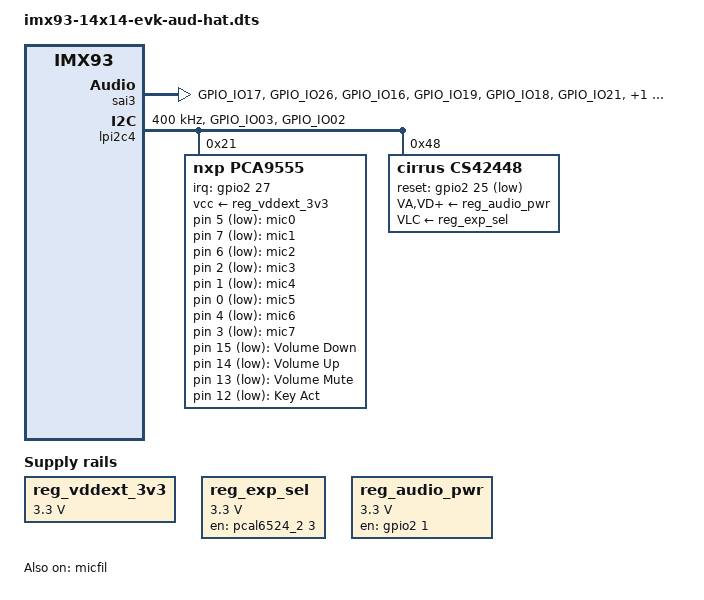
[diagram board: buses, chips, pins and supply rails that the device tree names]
// SPDX-License-Identifier: (GPL-2.0+ OR MIT)
/*
 * Copyright 2023 NXP
 */

#include "imx93-14x14-evk.dts"

/ {
	mic-leds {
		compatible = "gpio-leds";
		mic0 {
			label = "mic0";
			gpios = <&pca9555 5 GPIO_ACTIVE_LOW>;
			default-state = "off";
		};
		mic1 {
			label = "mic1";
			gpios = <&pca9555 7 GPIO_ACTIVE_LOW>;
			default-state = "off";
		};
		mic2 {
			label = "mic2";
			gpios = <&pca9555 6 GPIO_ACTIVE_LOW>;
			default-state = "off";
		};
		mic3 {
			label = "mic3";
			gpios = <&pca9555 2 GPIO_ACTIVE_LOW>;
			default-state = "off";
		};
		mic4 {
			label = "mic4";
			gpios = <&pca9555 1 GPIO_ACTIVE_LOW>;
			default-state = "off";
		};
		mic5 {
			label = "mic5";
			gpios = <&pca9555 0 GPIO_ACTIVE_LOW>;
			default-state = "off";
		};
		mic6 {
			label = "mic6";
			gpios = <&pca9555 4 GPIO_ACTIVE_LOW>;
			default-state = "off";
		};
		mic7 {
			label = "mic7";
			gpios = <&pca9555 3 GPIO_ACTIVE_LOW>;
			default-state = "off";
		};
	};

	sw-keys {
		compatible = "gpio-keys";

		sw4: volume-down {
			label = "Volume Down";
			gpios = <&pca9555 15 GPIO_ACTIVE_LOW>;
			linux,code = <KEY_VOLUMEDOWN>;
			interrupt-parent = <&pca9555>;
			interrupts = <15 IRQ_TYPE_LEVEL_LOW>;
		};

		sw3: volume-up {
			label = "Volume Up";
			gpios = <&pca9555 14 GPIO_ACTIVE_LOW>;
			linux,code = <KEY_VOLUMEUP>;
			interrupt-parent = <&pca9555>;
			interrupts = <14 IRQ_TYPE_LEVEL_LOW>;
		};

		sw2: volume-mute {
			label = "Volume Mute";
			gpios = <&pca9555 13 GPIO_ACTIVE_LOW>;
			linux,code = <KEY_MUTE>;
			interrupt-parent = <&pca9555>;
			interrupts = <13 IRQ_TYPE_LEVEL_LOW>;
		};

		sw1: key-act {
			label = "Key Act";
			gpios = <&pca9555 12 GPIO_ACTIVE_LOW>;
			linux,code = <KEY_F9>;
			interrupt-parent = <&pca9555>;
			interrupts = <12 IRQ_TYPE_LEVEL_LOW>;
		};
	};

	reg_vddext_3v3: regulator-vddext {
		compatible = "regulator-fixed";
		regulator-name = "VDDEXT_3V3";
		regulator-min-microvolt = <3300000>;
		regulator-max-microvolt = <3300000>;
	};

	reg_exp_sel: regulator-exp-sel {
		compatible = "regulator-fixed";
		regulator-name = "exp-sel";
		regulator-min-microvolt = <3300000>;
		regulator-max-microvolt = <3300000>;
		gpio = <&pcal6524_2 3 GPIO_ACTIVE_HIGH>;
		enable-active-high;
		regulator-always-on;
	};

	reg_audio_pwr: regulator-audio-pwr {
		compatible = "regulator-fixed";
		pinctrl-names = "default";
		pinctrl-0 = <&pinctrl_audio_pwr>;
		regulator-name = "cs42448-supply";
		regulator-min-microvolt = <3300000>;
		regulator-max-microvolt = <3300000>;
		gpio = <&gpio2 1 GPIO_ACTIVE_HIGH>;
		enable-active-high;
		regulator-always-on;
	};

	sound-cs42448 {
		compatible = "fsl,imx-audio-card";
		model = "imx-cs42448";
		status = "okay";
		pri-dai-link {
			link-name = "cs42448";
			format = "dsp_a";
			dai-tdm-slot-num = <8>;
			dai-tdm-slot-width = <32>;
			fsl,mclk-equal-bclk;
			cpu {
				sound-dai = <&sai3>;
			};
			codec {
				sound-dai = <&cs42448>;
			};
		};
	};

	sound-micfil {
		compatible = "fsl,imx-audio-card";
		model = "micfil-audio";
		pri-dai-link {
			link-name = "micfil hifi";
			format = "i2s";
			cpu {
				sound-dai = <&micfil>;
			};
		};
	};

};

&sai3 {
	#sound-dai-cells = <0>;
	pinctrl-names = "default";
	pinctrl-0 = <&pinctrl_sai3audhat>;
	clocks = <&clk IMX93_CLK_SAI3_IPG>, <&clk IMX93_CLK_DUMMY>,
		 <&clk IMX93_CLK_SAI3_GATE>, <&clk IMX93_CLK_DUMMY>,
		 <&clk IMX93_CLK_DUMMY>, <&clk IMX93_CLK_AUDIO_PLL>;
	clock-names = "bus", "mclk0", "mclk1", "mclk2", "mclk3", "pll8k";
	assigned-clocks = <&clk IMX93_CLK_SAI3>;
	assigned-clock-parents = <&clk IMX93_CLK_AUDIO_PLL>;
	assigned-clock-rates = <12288000>;
	fsl,sai-mclk-direction-output;
	fsl,sai-asynchronous;
	status = "okay";
};

&micfil {
	#sound-dai-cells = <0>;
	pinctrl-names = "default";
	pinctrl-0 = <&pinctrl_pdm>;
	assigned-clocks = <&clk IMX93_CLK_PDM>;
	assigned-clock-parents = <&clk IMX93_CLK_AUDIO_PLL>;
	assigned-clock-rates = <49152000>;
	status = "okay";
};

&lpi2c4 {
	clock-frequency = <400000>;
	dmas = <&edma2 10 0 0>, <&edma2 11 0 1>;
	dma-names = "tx","rx";
	pinctrl-names = "default";
	pinctrl-0 = <&pinctrl_lpi2c4>;
	status = "okay";

	pca9555: gpio@21 {
		compatible = "nxp,pca9555";
		pinctrl-names = "default";
		pinctrl-0 = <&pinctrl_pushbutton_irq>;
		reg = <0x21>;
		gpio-controller;
		#gpio-cells = <2>;
		interrupt-controller;
		#interrupt-cells = <2>;
		interrupt-parent = <&gpio2>;
		interrupts = <27 IRQ_TYPE_LEVEL_LOW>;
		vcc-supply = <&reg_vddext_3v3>;
		status = "okay";
	};

	cs42448: audio-codec@48 {
		#sound-dai-cells = <0>;
		compatible = "cirrus,cs42448";
		pinctrl-names = "default";
		pinctrl-0 = <&pinctrl_codec_rst>;
		reg = <0x48>;
		clocks = <&clk IMX93_CLK_SAI3_GATE>;
		clock-names = "mclk";
		VA-supply = <&reg_audio_pwr>;
		VD-supply = <&reg_audio_pwr>;
		VLS-supply = <&reg_audio_pwr>;
		VLC-supply = <&reg_exp_sel>;
		reset-gpio = <&gpio2 25 GPIO_ACTIVE_LOW>;
		status = "okay";
	};
};

&iomuxc {
	pinctrl_swpdm_mute_irq: swpdmmutegrp {
		fsl,pins = <
			MX93_PAD_GPIO_IO00__GPIO2_IO00		0x31e
		>;
	};

	pinctrl_pushbutton_irq: pushbuttonirqgrp {
		fsl,pins = <
			MX93_PAD_GPIO_IO27__GPIO2_IO27		0x31e
		>;
	};

	pinctrl_pdm: pdmgrp {
		fsl,pins = <
			MX93_PAD_GPIO_IO04__PDM_CLK 		0x31e
			MX93_PAD_GPIO_IO05__PDM_BIT_STREAM00	0x31e
			MX93_PAD_GPIO_IO06__PDM_BIT_STREAM01	0x31e
			MX93_PAD_GPIO_IO12__PDM_BIT_STREAM02	0x31e
			MX93_PAD_GPIO_IO13__PDM_BIT_STREAM03	0x31e
		>;
	};

	pinctrl_lpi2c4: lpi2c4grp {
		fsl,pins = <
			MX93_PAD_GPIO_IO03__LPI2C4_SCL		0x40000b9e
			MX93_PAD_GPIO_IO02__LPI2C4_SDA		0x40000b9e
		>;
	};

	pinctrl_sai3audhat: sai3audhatgrp {
		fsl,pins = <
			MX93_PAD_GPIO_IO17__SAI3_MCLK		0x31e
			MX93_PAD_GPIO_IO26__SAI3_TX_SYNC	0x31e
			MX93_PAD_GPIO_IO16__SAI3_TX_BCLK	0x31e
			MX93_PAD_GPIO_IO19__SAI3_RX_SYNC	0x31e
			MX93_PAD_GPIO_IO18__SAI3_RX_BCLK	0x31e
			MX93_PAD_GPIO_IO21__SAI3_TX_DATA00	0x31e
			MX93_PAD_GPIO_IO20__SAI3_RX_DATA00	0x31e
		>;
	};

	pinctrl_audio_pwr: audiopwrgrp {
		fsl,pins = <
			MX93_PAD_GPIO_IO01__GPIO2_IO01		0x31e
		>;
	};

	pinctrl_codec_rst: codecrstgrp {
		fsl,pins = <
			MX93_PAD_GPIO_IO25__GPIO2_IO25		0x31e
		>;
	};
};

&flexcan2 {
	status = "disabled";
};
